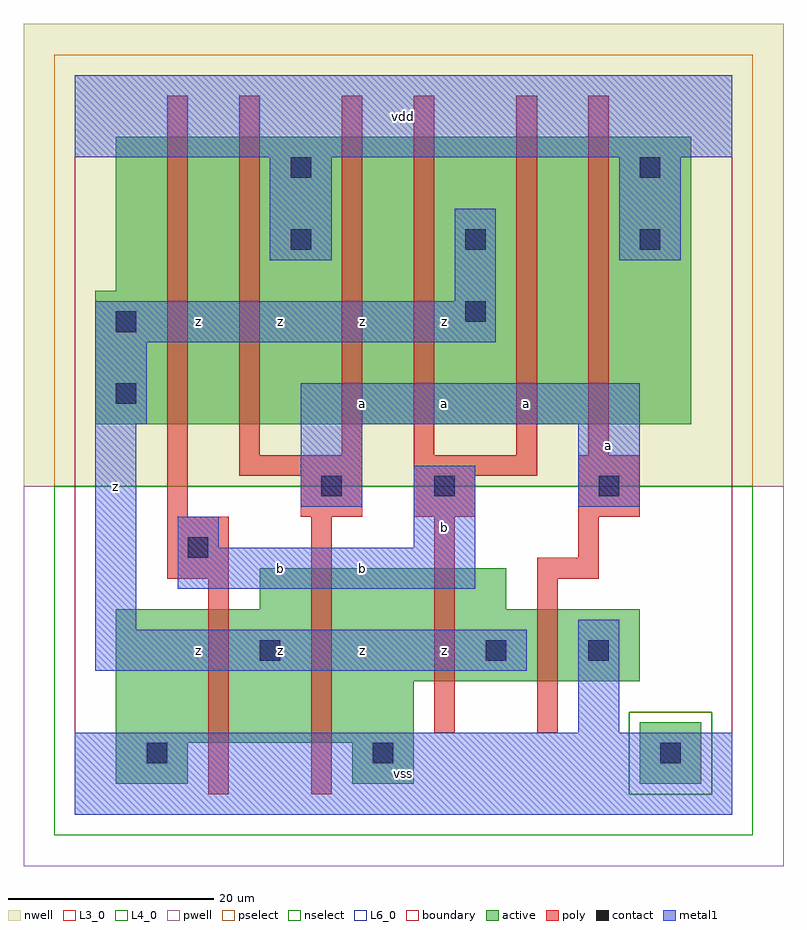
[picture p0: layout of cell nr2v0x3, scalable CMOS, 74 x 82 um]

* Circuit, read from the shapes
.subckt nr2v0x3 a b vdd vss z
M1 z b vss vss nfet w=13u l=2u
M2 vss a z vss nfet w=17u l=2u
M3 z b vss vss nfet w=11u l=2u
M4 vss a z vss nfet w=7u l=2u
M5 n1 b z n2 pfet w=28u l=2u
M6 vdd a n1 n2 pfet w=28u l=2u
M7 n3 a vdd n2 pfet w=28u l=2u
M8 z b n3 n2 pfet w=28u l=2u
M9 n4 b z n2 pfet w=28u l=2u
M10 vdd a n4 n2 pfet w=28u l=2u
.ends

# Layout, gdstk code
import gdstk
lib = gdstk.Library(unit=1e-6, precision=1e-09)
def R(c, l, rs):  # rectangles x0, y0, x1, y1
    for r in rs: c.add(gdstk.rectangle(r[:2], r[2:], *l))
def A(c, l, x, y, w, h, nx, ny, dx, dy):  # array of equal rectangles
    R(c, l, [(x+i*dx, y+j*dy, x+i*dx+w, y+j*dy+h) for i in range(nx) for j in range(ny)])
L3_0 = (3, 0)
L4_0 = (4, 0)
L6_0 = (6, 0)
contact = (25, 0)
pwell = (41, 0)
nwell = (42, 0)
active = (43, 0)
pselect = (44, 0)
nselect = (45, 0)
poly = (46, 0)
metal1 = (49, 0)
boundary = (63, 0)

nr2v0x3 = lib.new_cell('nr2v0x3')
R(nr2v0x3, L3_0, [(4,3,11,7), (27,3,33,7), (4,7,33,13), (4,13,55,20), (18,20,42,24)])
R(nr2v0x3, L4_0, [(2,38,60,51), (4,51,60,66)])
R(nr2v0x3, L6_0, [(55,3,61,9)])
A(nr2v0x3, contact, 21, 55, 2, 2, 3, 1, 17, 0)
R(nr2v0x3, contact, [(7,5,9,7), (29,5,31,7), (57,5,59,7), (18,15,20,17), (40,15,42,17), (50,15,52,17), (11,25,13,27), (24,31,26,33), (35,31,37,33), (51,31,53,33), (4,40,6,42), (4,47,6,49), (38,48,40,50), (21,62,23,64), (55,62,57,64)])
R(nr2v0x3, pwell, [(-5,-5,69,32)])
R(nr2v0x3, nwell, [(-5,32,69,77)])
R(nr2v0x3, active, [(4,3,11,7), (27,3,33,7), (55,3,61,9), (4,7,33,13), (4,13,55,20), (18,20,42,24), (2,38,60,51), (4,51,60,66)])
R(nr2v0x3, pselect, [(54,2,62,10), (-2,32,66,74)])
R(nr2v0x3, nselect, [(-2,-2,66,2), (-2,2,54,10), (62,2,66,10), (-2,10,66,32)])
R(nr2v0x3, poly, [(13,2,15,23), (23,2,25,29), (35,8,37,29), (45,8,47,23), (9,23,15,29), (45,23,51,25), (49,25,51,29), (9,29,11,70), (22,29,28,33), (33,29,39,33), (49,29,55,35), (16,33,28,35), (33,33,45,35), (16,35,18,70), (26,35,28,70), (33,35,35,70), (43,35,45,70), (50,35,52,70)])
R(nr2v0x3, metal1, [(0,0,64,8), (49,8,53,19), (2,14,44,18), (2,18,6,38), (10,22,39,26), (10,26,14,29), (33,26,39,34), (22,30,28,38), (49,30,55,38), (2,38,7,46), (22,38,55,42), (2,46,41,50), (37,50,41,59), (19,54,25,64), (53,54,59,64), (0,64,64,72)])
R(nr2v0x3, boundary, [(0,0,64,72)])
nr2v0x3.add(gdstk.Label('z', (12,16), layer=49, texttype=0))
nr2v0x3.add(gdstk.Label('z', (4,32), layer=49, texttype=0))
nr2v0x3.add(gdstk.Label('z', (12,48), layer=49, texttype=0))
nr2v0x3.add(gdstk.Label('z', (20,16), layer=49, texttype=0))
nr2v0x3.add(gdstk.Label('z', (28,16), layer=49, texttype=0))
nr2v0x3.add(gdstk.Label('b', (20,24), layer=49, texttype=0))
nr2v0x3.add(gdstk.Label('b', (28,24), layer=49, texttype=0))
nr2v0x3.add(gdstk.Label('a', (28,40), layer=49, texttype=0))
nr2v0x3.add(gdstk.Label('z', (20,48), layer=49, texttype=0))
nr2v0x3.add(gdstk.Label('z', (28,48), layer=49, texttype=0))
nr2v0x3.add(gdstk.Label('vss', (32,4), layer=49, texttype=0))
nr2v0x3.add(gdstk.Label('z', (36,16), layer=49, texttype=0))
nr2v0x3.add(gdstk.Label('b', (36,28), layer=49, texttype=0))
nr2v0x3.add(gdstk.Label('a', (44,40), layer=49, texttype=0))
nr2v0x3.add(gdstk.Label('a', (36,40), layer=49, texttype=0))
nr2v0x3.add(gdstk.Label('z', (36,48), layer=49, texttype=0))
nr2v0x3.add(gdstk.Label('vdd', (32,68), layer=49, texttype=0))
nr2v0x3.add(gdstk.Label('a', (52,36), layer=49, texttype=0))

lib.write_gds('nr2v0x3.gds')
